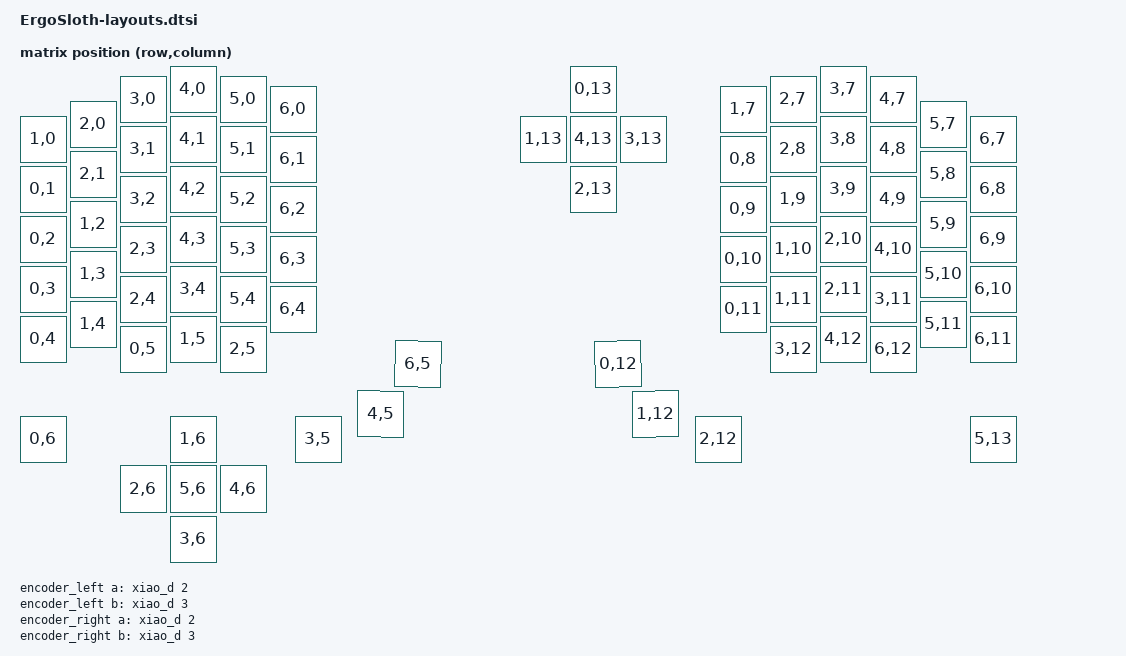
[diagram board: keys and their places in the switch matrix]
/*
 * Copyright (c) 2020 Pete Johanson
 *
 * SPDX-License-Identifier: MIT
 */

#include <dt-bindings/zmk/matrix_transform.h>
#include <physical_layouts.dtsi>

/ {
// keymap
    default_transform: keymap_transform_0 {
        compatible = "zmk,matrix-transform";
        columns = <14>;
        rows = <7>;

        //               | SW2  | SW3  | SW4  | SW5  |   | SW6  | SW7  | SW8  | SW9  |
        // | SW0  | SW1  | SW14 | SW15 | SW16 | SW17 |   | SW18 | SW19 | SW20 | SW21 | SW10 | SW11 |
        // | SW12 | SW13 | SW26 | SW27 | SW28 | SW29 |   | SW30 | SW31 | SW32 | SW33 | SW22 | SW23 |
        // | SW24 | SW25 | SW38 | SW39 | SW40 | SW41 |   | SW42 | SW43 | SW44 | SW45 | SW34 | SW35 |
        // | SW36 | SW37 | SW50 | SW51 | SW52 | SW53 |   | SW54 | SW55 | SW56 | SW57 | SW46 | SW47 |
        // | SW48 | SW49 | SW60 | SW61 | SW62 | (LAJS)   (RAJS) | SW69 | SW70 | SW71 | SW58 | SW59 |
        //                                  (TouchPad)
        // 		                              | SW65 |   | SW66 |	    (TrackBall)
        // 							   | SW64 |					| SW67 |
        // | SW72 |				| SW63 |							   | SW68 |				| SW83 |
        //    (LeftRotaryEncoder)                                             (RightRotaryEncoder)
        //		  | SW73 |															 | SW78 |
        // | SW74 | SW77 | SW76 |											  | SW79 | SW82 | SW81 |
        // 		  | SW75 |															 | SW80 |
        //                                             ||
        //                                           __||__
        //                                            \  /
        //                                             \/
		//
        // | SW0  | SW1  | SW2  | SW3  | SW4  | SW5  |   | SW6  | SW7  | SW8  | SW9  | SW10 | SW11 |
        // | SW12 | SW13 | SW14 | SW15 | SW16 | SW17 |   | SW18 | SW19 | SW20 | SW21 | SW22 | SW23 |
        // | SW24 | SW25 | SW26 | SW27 | SW28 | SW29 |   | SW30 | SW31 | SW32 | SW33 | SW34 | SW35 |
        // | SW36 | SW37 | SW38 | SW39 | SW40 | SW41 |   | SW42 | SW43 | SW44 | SW45 | SW46 | SW47 |
        // | SW48 | SW49 | SW50 | SW51 | SW52 | SW53 |   | SW54 | SW55 | SW56 | SW57 | SW58 | SW59 |
        // | SW60 | SW61 | SW62 | SW63 | SW64 | SW65 |   | SW66 | SW67 | SW68 | SW69 | SW70 | SW71 |
        // | SW72 | SW73 | SW74 | SW75 | SW76 | SW77 |   | SW78 | SW79 | SW80 | SW81 | SW82 | SW83 |

        map = <
            RC(1,0) RC(2,0) RC(3,0) RC(4,0) RC(5,0) RC(6,0)		     RC(1,7) RC(2,7) RC(3,7) RC(4,7) RC(5,7) RC(6,7)
            RC(0,1) RC(2,1) RC(3,1) RC(4,1) RC(5,1) RC(6,1)     	 RC(0,8) RC(2,8) RC(3,8) RC(4,8) RC(5,8) RC(6,8)
            RC(0,2) RC(1,2) RC(3,2) RC(4,2) RC(5,2) RC(6,2)     	 RC(0,9) RC(1,9) RC(3,9) RC(4,9) RC(5,9) RC(6,9)
            RC(0,3) RC(1,3) RC(2,3) RC(4,3) RC(5,3) RC(6,3)     	 RC(0,10) RC(1,10) RC(2,10) RC(4,10) RC(5,10) RC(6,10)
            RC(0,4) RC(1,4) RC(2,4) RC(3,4) RC(5,4) RC(6,4)     	 RC(0,11) RC(1,11) RC(2,11) RC(3,11) RC(5,11) RC(6,11)
			RC(0,5) RC(1,5) RC(2,5) RC(3,5) RC(4,5) RC(6,5) 		 RC(0,12) RC(1,12) RC(2,12) RC(3,12) RC(4,12) RC(6,12)
			RC(0,6)	RC(1,6)	RC(2,6)	RC(3,6)	RC(4,6)	RC(5,6)			 RC(0,13) RC(1,13) RC(2,13) RC(3,13) RC(4,13) RC(5,13)
        >;
    };

    kscan0: kscan {
        compatible = "zmk,kscan-gpio-charlieplex";
        wakeup-source;
        interrupt-gpios = <&xiao_d 4 (GPIO_ACTIVE_HIGH | GPIO_PULL_DOWN)>;
    };

    physical_layout0: physical_layout_0 {
        compatible = "zmk,physical-layout";
        display-name = "ErgoSloth Default";
        kscan = <&kscan0>;
        transform = <&default_transform>;

        keys  //                     w   h    x    y     rot    rx    ry
            = <&key_physical_attrs 100 100    0  100       0     0     0>
            , <&key_physical_attrs 100 100  100   70       0     0     0>
            , <&key_physical_attrs 100 100  200   20       0     0     0>
            , <&key_physical_attrs 100 100  300    0       0     0     0>
            , <&key_physical_attrs 100 100  400   20       0     0     0>
            , <&key_physical_attrs 100 100  500   40       0     0     0>
            , <&key_physical_attrs 100 100 1400   40       0     0     0>
            , <&key_physical_attrs 100 100 1500   20       0     0     0>
            , <&key_physical_attrs 100 100 1600    0       0     0     0>
            , <&key_physical_attrs 100 100 1700   20       0     0     0>
            , <&key_physical_attrs 100 100 1800   70       0     0     0>
            , <&key_physical_attrs 100 100 1900  100       0     0     0>

            , <&key_physical_attrs 100 100    0  200       0     0     0>
            , <&key_physical_attrs 100 100  100  170       0     0     0>
            , <&key_physical_attrs 100 100  200  120       0     0     0>
            , <&key_physical_attrs 100 100  300  100       0     0     0>
            , <&key_physical_attrs 100 100  400  120       0     0     0>
            , <&key_physical_attrs 100 100  500  140       0     0     0>
            , <&key_physical_attrs 100 100 1400  140       0     0     0>
            , <&key_physical_attrs 100 100 1500  120       0     0     0>
            , <&key_physical_attrs 100 100 1600  100       0     0     0>
            , <&key_physical_attrs 100 100 1700  120       0     0     0>
            , <&key_physical_attrs 100 100 1800  170       0     0     0>
            , <&key_physical_attrs 100 100 1900  200       0     0     0>

            , <&key_physical_attrs 100 100    0  300       0     0     0>
            , <&key_physical_attrs 100 100  100  270       0     0     0>
            , <&key_physical_attrs 100 100  200  220       0     0     0>
            , <&key_physical_attrs 100 100  300  200       0     0     0>
            , <&key_physical_attrs 100 100  400  220       0     0     0>
            , <&key_physical_attrs 100 100  500  240       0     0     0>
            , <&key_physical_attrs 100 100 1400  240       0     0     0>
            , <&key_physical_attrs 100 100 1500  220       0     0     0>
            , <&key_physical_attrs 100 100 1600  200       0     0     0>
            , <&key_physical_attrs 100 100 1700  220       0     0     0>
            , <&key_physical_attrs 100 100 1800  270       0     0     0>
            , <&key_physical_attrs 100 100 1900  300       0     0     0>

            , <&key_physical_attrs 100 100    0  400       0     0     0>
            , <&key_physical_attrs 100 100  100  370       0     0     0>
            , <&key_physical_attrs 100 100  200  320       0     0     0>
            , <&key_physical_attrs 100 100  300  300       0     0     0>
            , <&key_physical_attrs 100 100  400  320       0     0     0>
            , <&key_physical_attrs 100 100  500  340       0     0     0>
            , <&key_physical_attrs 100 100 1400  340       0     0     0>
            , <&key_physical_attrs 100 100 1500  320       0     0     0>
            , <&key_physical_attrs 100 100 1600  300       0     0     0>
            , <&key_physical_attrs 100 100 1700  320       0     0     0>
            , <&key_physical_attrs 100 100 1800  370       0     0     0>
            , <&key_physical_attrs 100 100 1900  400       0     0     0>

            , <&key_physical_attrs 100 100    0  500       0     0     0>
            , <&key_physical_attrs 100 100  100  470       0     0     0>
            , <&key_physical_attrs 100 100  200  420       0     0     0>
            , <&key_physical_attrs 100 100  300  400       0     0     0>
            , <&key_physical_attrs 100 100  400  420       0     0     0>
            , <&key_physical_attrs 100 100  500  440       0     0     0>
            , <&key_physical_attrs 100 100 1400  440       0     0     0>
            , <&key_physical_attrs 100 100 1500  420       0     0     0>
            , <&key_physical_attrs 100 100 1600  400       0     0     0>
            , <&key_physical_attrs 100 100 1700  420       0     0     0>
            , <&key_physical_attrs 100 100 1800  470       0     0     0>
            , <&key_physical_attrs 100 100 1900  500       0     0     0>

            , <&key_physical_attrs 100 100  200  520       0     0     0>
            , <&key_physical_attrs 100 100  300  500       0     0     0>
            , <&key_physical_attrs 100 100  400  520       0     0     0>
            , <&key_physical_attrs 100 100  550  700       0     0     0>
            , <&key_physical_attrs 100 100  675  650      60   725   700>
            , <&key_physical_attrs 100 100  750  550      30   800   600>
            , <&key_physical_attrs 100 100 1150  550   (-30)  1200   600>
            , <&key_physical_attrs 100 100 1225  650   (-60)  1275   700>
            , <&key_physical_attrs 100 100 1350  700       0     0     0>
            , <&key_physical_attrs 100 100 1500  520       0     0     0>
            , <&key_physical_attrs 100 100 1600  500       0     0     0>
            , <&key_physical_attrs 100 100 1700  520       0     0     0>

            , <&key_physical_attrs 100 100    0  700       0     0     0>
            , <&key_physical_attrs 100 100  300  700       0     0     0>
            , <&key_physical_attrs 100 100  200  800       0     0     0>
            , <&key_physical_attrs 100 100  300  900       0     0     0>
            , <&key_physical_attrs 100 100  400  800       0     0     0>
            , <&key_physical_attrs 100 100  300  800       0     0     0>
            , <&key_physical_attrs 100 100 1100    0       0     0     0>
            , <&key_physical_attrs 100 100 1000  100       0     0     0>
            , <&key_physical_attrs 100 100 1100  200       0     0     0>
            , <&key_physical_attrs 100 100 1200  100       0     0     0>
            , <&key_physical_attrs 100 100 1100  100       0     0     0>
            , <&key_physical_attrs 100 100 1900  700       0     0     0>
;
    };

// encoders
    encoder_left: encoder_left {
        compatible = "alps,ec11";
        a-gpios = <&xiao_d 2 (GPIO_ACTIVE_HIGH | GPIO_PULL_UP)>;
        b-gpios = <&xiao_d 3 (GPIO_ACTIVE_HIGH | GPIO_PULL_UP)>;
        steps = <15>;
        status = "disabled";
    };

    encoder_right: encoder_right {
        compatible = "alps,ec11";
        a-gpios = <&xiao_d 2 (GPIO_ACTIVE_HIGH | GPIO_PULL_UP)>;
        b-gpios = <&xiao_d 3 (GPIO_ACTIVE_HIGH | GPIO_PULL_UP)>;
        steps = <15>;
        status = "disabled";
    };

    sensors: sensors {
        compatible = "zmk,keymap-sensors";
        sensors = <&encoder_left &encoder_right>;
        triggers-per-rotation = <30>;
    }
};
